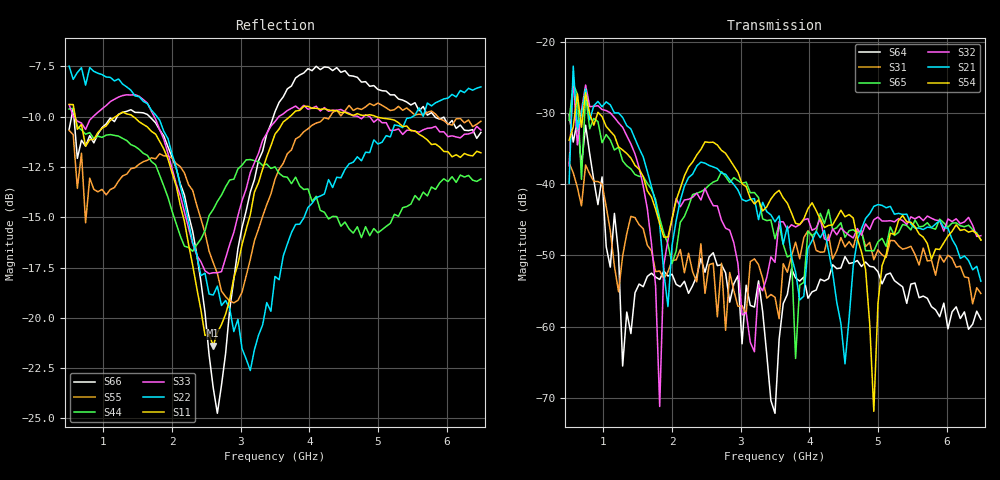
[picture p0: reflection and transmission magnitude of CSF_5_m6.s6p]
!Keysight Technologies,M9804A,MY58100912,A.14.10.03
!Date: Thursday, April 27, 2023 10:28:33
!Correction: S11(C  6-Port  )
!S12(C  6-Port  )
!S13(C  6-Port  )
!S14(C  6-Port  )
!S15(C  6-Port  )
!S16(C  6-Port  )
!S21(C  6-Port  )
!S22(C  6-Port  )
!S23(C  6-Port  )
!S24(C  6-Port  )
!S25(C  6-Port  )
!S26(C  6-Port  )
!S31(C  6-Port  )
!S32(C  6-Port  )
!S33(C  6-Port  )
!S34(C  6-Port  )
!S35(C  6-Port  )
!S36(C  6-Port  )
!S41(C  6-Port  )
!S42(C  6-Port  )
!S43(C  6-Port  )
!S44(C  6-Port  )
!S45(C  6-Port  )
!S46(C  6-Port  )
!S51(C  6-Port  )
!S52(C  6-Port  )
!S53(C  6-Port  )
!S54(C  6-Port  )
!S55(C  6-Port  )
!S56(C  6-Port  )
!S61(C  6-Port  )
!S62(C  6-Port  )
!S63(C  6-Port  )
!S64(C  6-Port  )
!S65(C  6-Port  )
!S66(C  6-Port  )
!S6P File: Measurement: :
# Hz S  RI  R 50
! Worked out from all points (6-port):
!   101 points, 500 MHz to 6.5 GHz, reference 50 ohm
!   strongest paths, dB at 500 MHz, 2 GHz, 3.5 GHz, 5 GHz, 6.5 GHz:
!     S54: -33.8, -44.9, -41.3, -56.7, -47.8
!     S21: -39.9, -48.6, -45.3, -42.9, -53.6
!     S32: -37.4, -44.9, -51.0, -44.6, -47.2
!     S65: -31.0, -51.1, -47.7, -48.1, -47.8
!     S31: -37.0, -50.7, -55.9, -49.2, -55.3
!     S64: -30.3, -52.6, -72.1, -52.3, -58.9
!   lowest |S11| = -21.4 dB at 2.6 GHz (marker M1), VSWR 1.19, Z = 42.4 + j2.2 ohm
!   |S11| at or under -10 dB: 589.5 MHz to 1.175 GHz (585.1 MHz wide, 66.3 % of centre); 1.438 GHz to 3.714 GHz (2.275 GHz wide, 88.3 % of centre); 4.978 GHz to end of sweep
